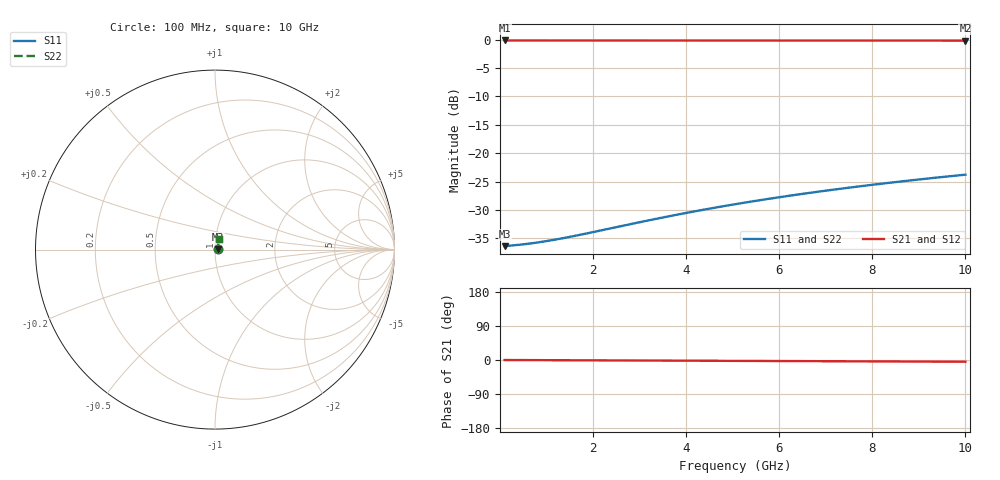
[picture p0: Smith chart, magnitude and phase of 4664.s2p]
# Hz S RI R 50.00
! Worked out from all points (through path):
!   100 points, 100 MHz to 10 GHz, reference 50 ohm
!   highest |S21| = -0.13 dB at 100 MHz (marker M1); lowest = -0.2 dB at 10 GHz (marker M2)
!   lowest |S11| = -36.4 dB at 100 MHz (marker M3), VSWR 1.03, Z = 51.5 + j0.0633 ohm
!   |S11| at or under -10 dB: start of sweep to end of sweep
!   |S22| runs from -36.4 to -23.8 dB; largest |S21 - S12| = 0
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1e8  0.0151 0.000614  0.9849 -0.000787  0.9849 -0.000787  0.0151 0.000614
5e8  0.0154 0.00307  0.9846 -0.00393  0.9846 -0.00393  0.0154 0.00307
7e8  0.0155 0.0043  0.9845 -0.00551  0.9845 -0.00551  0.0155 0.0043
9e8  0.0156 0.00552  0.9844 -0.00708  0.9844 -0.00708  0.0156 0.00552
1.1e9  0.0157 0.00675  0.9843 -0.00865  0.9843 -0.00865  0.0157 0.00675
1.3e9  0.0157 0.00798  0.9843 -0.0102  0.9843 -0.0102  0.0157 0.00798
1.5e9  0.0158 0.0092  0.9842 -0.0118  0.9842 -0.0118  0.0158 0.0092
1.8e9  0.0159 0.011  0.9841 -0.0142  0.9841 -0.0142  0.0159 0.011
2.9e9  0.0163 0.0178  0.9837 -0.0228  0.9837 -0.0228  0.0163 0.0178
3.4e9  0.0165 0.0208  0.9834 -0.0267  0.9834 -0.0267  0.0165 0.0208
3.9e9  0.0168 0.0239  0.9832 -0.0306  0.9832 -0.0306  0.0168 0.0239
4.3e9  0.017 0.0263  0.983 -0.0338  0.983 -0.0338  0.017 0.0263
4.7e9  0.0172 0.0288  0.9828 -0.0369  0.9828 -0.0369  0.0172 0.0288
5.1e9  0.0174 0.0312  0.9826 -0.04  0.9826 -0.04  0.0174 0.0312
5.5e9  0.0176 0.0337  0.9823 -0.0432  0.9823 -0.0432  0.0176 0.0337
5.9e9  0.0179 0.0361  0.9821 -0.0463  0.9821 -0.0463  0.0179 0.0361
6.3e9  0.0181 0.0385  0.9818 -0.0494  0.9818 -0.0494  0.0181 0.0385
6.7e9  0.0184 0.041  0.9815 -0.0526  0.9815 -0.0526  0.0184 0.041
7.5e9  0.019 0.0459  0.9809 -0.0588  0.9809 -0.0588  0.019 0.0459
8.4e9  0.0198 0.0513  0.9801 -0.0659  0.9801 -0.0659  0.0198 0.0513
9.2e9  0.0205 0.0562  0.9794 -0.0721  0.9794 -0.0721  0.0205 0.0562
1e10  0.0213 0.061  0.9785 -0.0783  0.9785 -0.0783  0.0213 0.061
